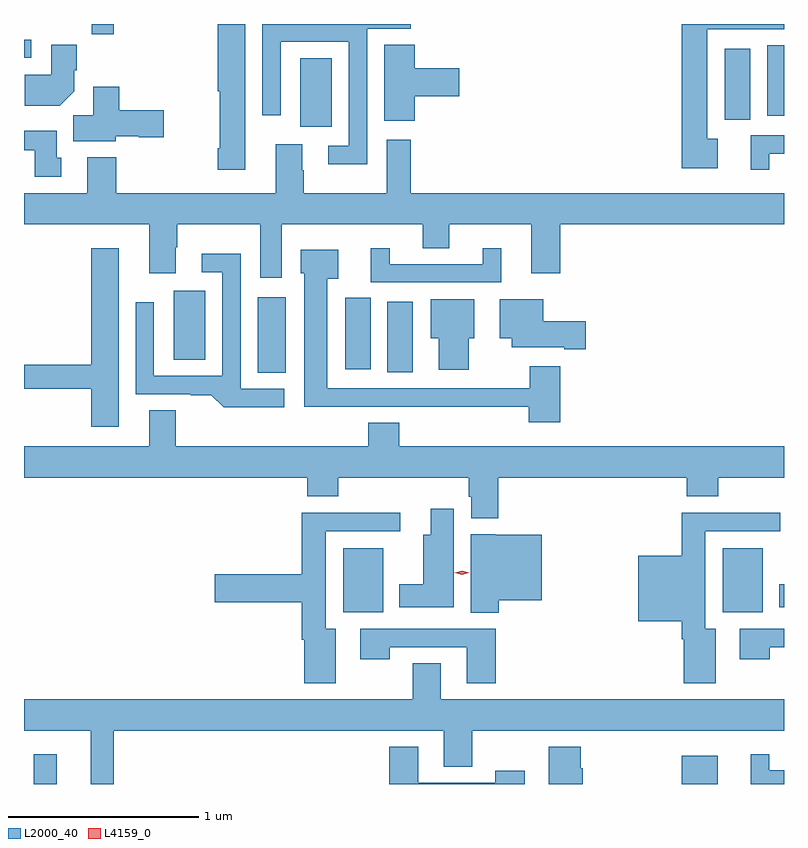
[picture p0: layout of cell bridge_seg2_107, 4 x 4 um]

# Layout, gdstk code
import gdstk
lib = gdstk.Library(unit=1e-6, precision=1e-09)
def R(c, l, rs):  # rectangles x0, y0, x1, y1
    for r in rs: c.add(gdstk.rectangle(r[:2], r[2:], *l))
def P(c, l, *ps):  # polygons
    for p in ps: c.add(gdstk.Polygon(p, *l))
L2000_40 = (2000, 40)
L4159_0 = (4159, 0)

bridge_seg2_107 = lib.new_cell('bridge_seg2_107')
R(bridge_seg2_107, L2000_40, [(578.634,648.687,578.755,648.844), (582.044,648.687,582.235,648.835), (580.262,649.592,580.474,649.927), (582.26,649.592,582.472,649.927), (582.557,649.616,582.583,649.738), (579.812,650.851,579.961,651.25), (580.496,650.854,580.63,651.226), (580.274,650.871,580.408,651.246), (579.371,650.92,579.538,651.283), (580.037,652.146,580.204,652.508), (582.272,652.182,582.406,652.558), (582.494,652.203,582.583,652.574), (578.583,652.509,578.62,652.605), (578.939,652.632,579.056,652.687)])
P(bridge_seg2_107, L2000_40, [(580.389,652.662),(580.618,652.662),(580.618,652.687),(579.837,652.687),(579.837,652.206),(579.933,652.206),(579.933,652.593),(580.293,652.593),(580.293,652.047),(580.185,652.047),(580.185,651.95),(580.389,651.95)],
  [(582.235,652.082),(582.178,652.082),(582.178,652.659),(582.583,652.659),(582.583,652.687),(582.044,652.687),(582.044,651.929),(582.235,651.929)],
  [(579.748,652.687),(579.602,652.687),(579.602,652.333),(579.614,652.333),(579.614,652.033),(579.602,652.033),(579.602,651.921),(579.748,651.921)],
  [(578.848,652.334),(578.848,652.444),(578.861,652.444),(578.861,652.579),(578.726,652.579),(578.726,652.42),(578.587,652.42),(578.587,652.256),(578.77,652.256)],
  [(580.64,652.307),(580.873,652.307),(580.873,652.454),(580.64,652.454),(580.64,652.577),(580.478,652.577),(580.478,652.179),(580.64,652.179)],
  [(579.066,652.097),(579.186,652.097),(579.186,652.09),(579.319,652.09),(579.319,652.232),(579.083,652.232),(579.083,652.357),(578.948,652.357),(578.948,652.208),(578.843,652.208),(578.843,652.07),(579.066,652.07)],
  [(578.779,651.984),(578.755,651.984),(578.755,652.126),(578.583,652.126),(578.583,652.022),(578.639,652.022),(578.639,651.882),(578.779,651.882)],
  [(582.505,652.005),(582.583,652.005),(582.583,652.101),(582.407,652.101),(582.407,651.921),(582.505,651.921)],
  [(579.94,651.632),(580.682,651.632),(580.682,651.508),(580.822,651.508),(580.822,651.632),(581.252,651.632),(581.252,651.375),(581.405,651.375),(581.405,651.632),(582.583,651.632),(582.583,651.796),(580.619,651.796),(580.619,652.078),(580.493,652.078),(580.493,651.796),(580.056,651.796),(580.056,651.917),(580.048,651.917),(580.048,652.054),(579.908,652.054),(579.908,651.796),(579.068,651.796),(579.068,651.985),(578.915,651.985),(578.915,651.796),(578.583,651.796),(578.583,651.632),(579.242,651.632),(579.242,651.375),(579.382,651.375),(579.382,651.512),(579.39,651.512),(579.39,651.632),(579.827,651.632),(579.827,651.351),(579.94,651.351)],
  [(579.082,651.508),(578.936,651.508),(578.936,650.894),(578.583,650.894),(578.583,650.766),(578.936,650.766),(578.936,650.568),(579.082,650.568)],
  [(581.095,651.508),(580.997,651.508),(580.997,651.423),(580.507,651.423),(580.507,651.508),(580.409,651.508),(580.409,651.327),(581.095,651.327)],
  [(581.405,650.887),(581.245,650.887),(581.245,650.771),(581.02,650.771),(581.02,650.769),(580.18,650.769),(580.18,651.347),(580.237,651.347),(580.237,651.499),(580.04,651.499),(580.04,651.375),(580.058,651.375),(580.058,650.672),(580.276,650.672),(580.276,650.673),(580.642,650.673),(580.642,650.672),(581.24,650.672),(581.24,650.592),(581.405,650.592)],
  [(579.952,650.766),(579.723,650.766),(579.723,651.478),(579.519,651.478),(579.519,651.381),(579.627,651.381),(579.627,650.835),(579.267,650.835),(579.267,651.223),(579.171,651.223),(579.171,650.739),(579.461,650.739),(579.461,650.734),(579.569,650.734),(579.635,650.669),(579.952,650.669)],
  [(580.924,651.032),(580.954,651.032),(580.954,651.238),(580.724,651.238),(580.724,651.032),(580.766,651.032),(580.766,650.868),(580.924,650.868)],
  [(581.539,651.122),(581.317,651.122),(581.317,651.238),(581.087,651.238),(581.087,651.032),(581.15,651.032),(581.15,650.987),(581.426,650.987),(581.426,650.975),(581.539,650.975)],
  [(581.078,650.3),(582.071,650.3),(582.071,650.201),(582.236,650.201),(582.236,650.3),(582.583,650.3),(582.583,650.464),(580.559,650.464),(580.559,650.588),(580.394,650.588),(580.394,650.464),(579.382,650.464),(579.382,650.654),(579.242,650.654),(579.242,650.464),(578.583,650.464),(578.583,650.3),(580.073,650.3),(580.073,650.201),(580.238,650.201),(580.238,650.3),(580.925,650.3),(580.925,650.199),(580.937,650.199),(580.937,650.087),(581.078,650.087)],
  [(580.846,650.137),(580.724,650.137),(580.724,649.999),(580.685,649.999),(580.685,649.738),(580.559,649.738),(580.559,649.616),(580.846,649.616)],
  [(582.223,649.504),(582.169,649.504),(582.169,650.016),(582.562,650.016),(582.562,650.114),(582.044,650.114),(582.044,649.888),(581.816,649.888),(581.816,649.544),(582.044,649.544),(582.044,649.448),(582.056,649.448),(582.056,649.218),(582.223,649.218)],
  [(580.225,649.504),(580.171,649.504),(580.171,650.016),(580.564,650.016),(580.564,650.114),(580.046,650.114),(580.046,649.79),(579.588,649.79),(579.588,649.643),(580.046,649.643),(580.046,649.445),(580.058,649.445),(580.058,649.218),(580.225,649.218)],
  [(581.081,649.655),(581.308,649.655),(581.308,649.999),(581.064,649.999),(581.064,650.002),(580.934,650.002),(580.934,649.588),(581.081,649.588)],
  [(581.066,649.503),(580.353,649.503),(580.353,649.344),(580.509,649.344),(580.509,649.407),(580.913,649.407),(580.913,649.218),(581.066,649.218)],
  [(582.507,649.407),(582.583,649.407),(582.583,649.503),(582.351,649.503),(582.351,649.344),(582.507,649.344)],
  [(579.055,648.968),(580.793,648.968),(580.793,648.778),(580.941,648.778),(580.941,648.968),(582.583,648.968),(582.583,649.132),(580.777,649.132),(580.777,649.322),(580.63,649.322),(580.63,649.132),(578.583,649.132),(578.583,648.968),(578.933,648.968),(578.933,648.687),(579.055,648.687)],
  [(581.218,648.757),(581.062,648.757),(581.062,648.693),(580.657,648.693),(580.657,648.883),(580.505,648.883),(580.505,648.687),(581.218,648.687)],
  [(581.525,648.77),(581.512,648.77),(581.512,648.883),(581.345,648.883),(581.345,648.687),(581.525,648.687)],
  [(582.583,648.759),(582.505,648.759),(582.505,648.844),(582.407,648.844),(582.407,648.687),(582.583,648.687)])
P(bridge_seg2_107, L4159_0, [(580.888,649.789),(580.851,649.799),(580.851,649.799),(580.851,649.8),(580.889,649.809),(580.926,649.799),(580.926,649.799),(580.926,649.799)])

lib.write_gds('bridge_seg2_107.gds')
